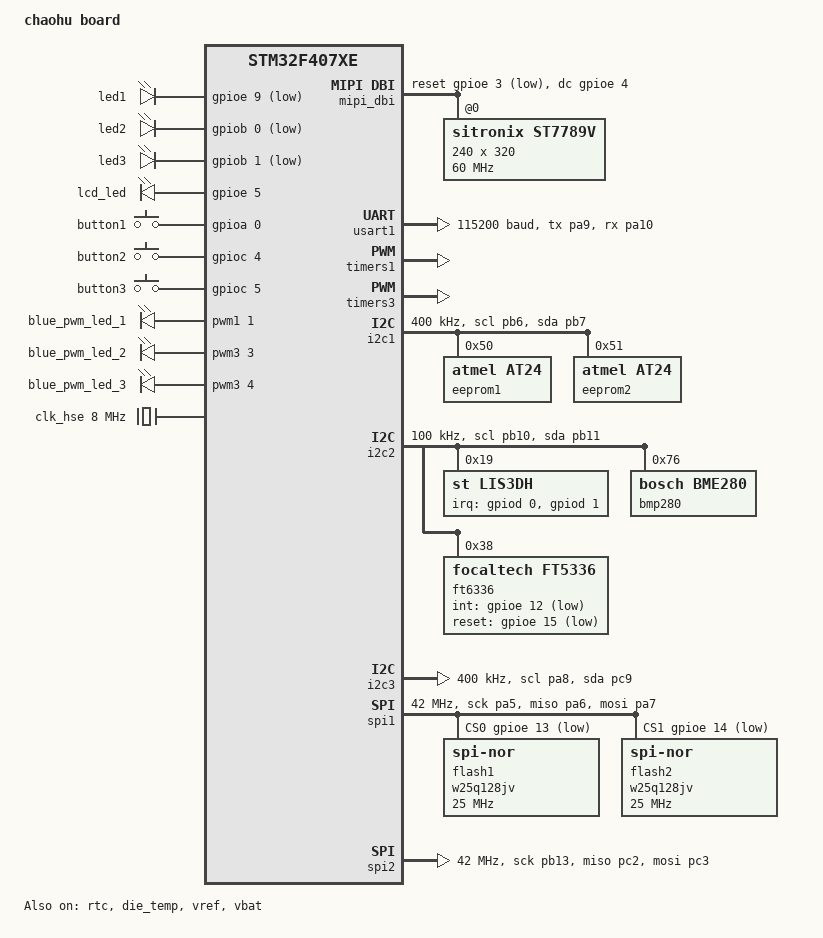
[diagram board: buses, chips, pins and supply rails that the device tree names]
/*
 * Copyright (c) 2017 Linaro Limited
 *
 * SPDX-License-Identifier: Apache-2.0
 */

/dts-v1/;
#include <st/f4/stm32f407Xe.dtsi>
#include <st/f4/stm32f407v(e-g)tx-pinctrl.dtsi>
#include <zephyr/dt-bindings/input/input-event-codes.h>
#include <zephyr/dt-bindings/i2c/i2c.h>
#include <zephyr/dt-bindings/led/led.h>

/ {
    model = "chaohu board";
    compatible = "st,chaohu";

    chosen {
        zephyr,sram = &sram0;
        zephyr,flash = &flash0;
        zephyr,ccm = &ccm0;
        zephyr,console = &usart1;
        zephyr,log-uart = &usart1;
        zephyr,shell-uart = &usart1;
        zephyr,display = &st7789v;
        zephyr,touch = &ft6336;
    };

    leds {
        compatible = "gpio-leds";
        blue_led_1: led_1 {
            gpios = <&gpioe 9 GPIO_ACTIVE_LOW>;
            label = "led1";
        };
        blue_led_2: led_2 {
            gpios = <&gpiob 0 GPIO_ACTIVE_LOW>;
            label = "led2";
        };
        blue_led_3: led_3 {
            gpios = <&gpiob 1 GPIO_ACTIVE_LOW>;
            label = "led3";
        };
        lcd_led: lcd_led {
            gpios = <&gpioe 5 GPIO_ACTIVE_HIGH>;
            label = "lcd_led";
        };
    };

    gpio_keys {
        compatible = "gpio-keys";
        user_button_1: button_1 {
            label = "button1";
            gpios = <&gpioa 0 (GPIO_PULL_DOWN | GPIO_ACTIVE_HIGH)>;
            zephyr,code = <INPUT_KEY_UP>;
        };
        user_button_2: button_2 {
            label = "button2";
            gpios = <&gpioc 4 (GPIO_PULL_DOWN | GPIO_ACTIVE_HIGH)>;
            zephyr,code = <INPUT_KEY_DOWN>;
        };
        user_button_3: button_3 {
            label = "button3";
            gpios = <&gpioc 5 (GPIO_PULL_DOWN | GPIO_ACTIVE_HIGH)>;
            zephyr,code = <INPUT_KEY_ENTER>;
        };
    };

    pwmleds {
        compatible = "pwm-leds";

        blue_pwm_led_1: pwm_led_1 {
            pwms = <&pwm1 1 PWM_MSEC(1) PWM_POLARITY_NORMAL>;
        };

        blue_pwm_led_2: pwm_led_2 {
            pwms = <&pwm3 3 PWM_MSEC(1) PWM_POLARITY_NORMAL>;
        };

        blue_pwm_led_3: pwm_led_3 {
            pwms = <&pwm3 4 PWM_MSEC(1) PWM_POLARITY_NORMAL>;
        };
    };

    mipi_dbi {
        compatible = "zephyr,mipi-dbi-spi";
        spi-dev = <&spi2>;
        dc-gpios = <&gpioe 4 GPIO_ACTIVE_HIGH>;
        reset-gpios = <&gpioe 3 GPIO_ACTIVE_LOW>;
        write-only;
        #address-cells = <1>;
        #size-cells = <0>;

        st7789v: st7789v@0 {
                status = "okay";
                compatible = "sitronix,st7789v";
                mipi-max-frequency = <DT_FREQ_M(60)>;
                reg = <0>;
                width = <240>;
                height = <320>;
                x-offset = <0>;
                y-offset = <0>;
                vcom = <0x1b>;
                gctrl = <0x46>;
                vrhs = <0x0f>;
                vdvs = <0x20>;
                mdac = <0x00>;
                gamma = <0x01>;
                colmod = <0x55>;
                lcm = <0x2c>;
                porch-param = [0c 0c 00 33 33];
                cmd2en-param = [5a 69 02 01];
                pwctrl1-param = [a4 a1];
                pvgam-param = [f0 00 06 04 05 05 31 44 48 36 12 12 2b 34];
                nvgam-param = [f0 0b 0f 0f 0d 26 31 43 47 38 14 14 2c 32];
                ram-param = [00 F0];
                rgb-param = [40 02 14];
                mipi-mode = "MIPI_DBI_MODE_SPI_4WIRE";
        };
    };

    aliases {
        led0 = &blue_led_1;
        led1 = &blue_led_2;
        led2 = &blue_led_3;
        button0 = &user_button_1;
        button1 = &user_button_2;
        button2 = &user_button_3;
        pwmled0 = &blue_pwm_led_1;
        pwmled1 = &blue_pwm_led_2;
        pwmled2 = &blue_pwm_led_3;
        eeprom1 = &eeprom1;
        eeprom2 = &eeprom2;
        lcd-led = &lcd_led;
        die-temp0 = &die_temp;
        volt-sensor0 = &vref;
        volt-sensor1 = &vbat;
    };
};

&usart1 {
    pinctrl-0 = <&usart1_tx_pa9 &usart1_rx_pa10>;
    pinctrl-names = "default";
    current-speed = <115200>;
    status = "okay";
};

&clk_lsi {
    status = "okay";
};

// &clk_lse {
// 	status = "okay";
// };

&clk_hse {
    clock-frequency = <DT_FREQ_M(8)>;
    status = "okay";
};

&pll {
    div-m = <4>;
    mul-n = <168>;
    div-p = <2>;
    div-q = <7>;
    clocks = <&clk_hse>;
    status = "okay";
};

&rcc {
    clocks = <&pll>;
    clock-frequency = <DT_FREQ_M(168)>;
    ahb-prescaler = <1>;
    apb1-prescaler = <4>;
    apb2-prescaler = <2>;
};

&timers1 {
    status = "okay";
    st,prescaler = <167>;

    pwm1: pwm {
        status = "okay";
        pinctrl-0 = <&tim1_ch1_pe9>;
        pinctrl-names = "default";
    };
};

&timers3 {
    status = "okay";
    st,prescaler = <83>;

    pwm3: pwm {
        status = "okay";
        pinctrl-0 = <&tim3_ch3_pb0 &tim3_ch4_pb1>;
        pinctrl-names = "default";
    };
};

&i2c1 {
    status = "okay";
    clock-frequency = <I2C_BITRATE_FAST>;
    pinctrl-0 = <&i2c1_scl_pb6 &i2c1_sda_pb7>;
    pinctrl-names = "default";

    eeprom1: at24c512@50 {
        status = "okay";
        compatible = "atmel,at24";
        reg = <0x50>;
        size = <DT_SIZE_K(64)>;
        pagesize = <128>;
        address-width = <16>;
        timeout = <5>;
    };
    eeprom2: at24c512@51 {
        status = "okay";
        compatible = "atmel,at24";
        reg = <0x51>;
        size = <DT_SIZE_K(64)>;
        pagesize = <128>;
        address-width = <16>;
        timeout = <5>;
    };
};

&i2c2 {
    status = "okay";
    clock-frequency = <I2C_BITRATE_STANDARD>;
    pinctrl-0 = <&i2c2_scl_pb10 &i2c2_sda_pb11>;
    pinctrl-names = "default";

    lis3dh: lis3dh@19 {
        status = "okay";
        compatible = "st,lis3dh", "st,lis2dh";
        reg = <0x19>;
        anym-on-int1;
        irq-gpios = <&gpiod 0 GPIO_ACTIVE_HIGH>,
                    <&gpiod 1 GPIO_ACTIVE_HIGH>;
    };
    bmp280: bme280@76 {
        status = "okay";
        compatible = "bosch,bme280";
        reg = <0x76>;
    };
    ft6336: ft6336@38 {
        status = "okay";
        compatible = "focaltech,ft5336";
        reg = <0x38>;
        int-gpios = <&gpioe 12 GPIO_ACTIVE_LOW>;
        reset-gpios = <&gpioe 15 GPIO_ACTIVE_LOW>;
    };
};

&i2c3 {
    status = "okay";
    clock-frequency = <I2C_BITRATE_FAST>;
    pinctrl-0 = <&i2c3_scl_pa8 &i2c3_sda_pc9>;
    pinctrl-names = "default";

    oled: ssd1306@3c {
        status = "disabled";
        compatible = "solomon,ssd1306fb";
        reg = <0x3c>;
        width = <128>;
        height = <32>;
        segment-offset = <0>;
        page-offset = <0>;
        display-offset = <0>;
        multiplex-ratio = <31>;
        segment-remap;
        com-invdir;
        com-sequential;
        prechargep = <0x22>;
        inversion-on;
    };
};

&spi1 {
    status = "okay";
    clock-frequency = <DT_FREQ_M(42)>;
    pinctrl-0 = <&spi1_sck_pa5 &spi1_miso_pa6 &spi1_mosi_pa7>;
    pinctrl-names = "default";

    dmas = <&dma2 3 3 (STM32_DMA_MEMORY_TO_PERIPH | STM32_DMA_MEM_INC) STM32_DMA_FIFO_FULL>,
           <&dma2 0 3 (STM32_DMA_PERIPH_TO_MEMORY | STM32_DMA_MEM_INC) STM32_DMA_FIFO_FULL>;
    dma-names = "tx", "rx";

    cs-gpios = <&gpioe 13 GPIO_ACTIVE_LOW>,
               <&gpioe 14 GPIO_ACTIVE_LOW>;

    flash1: w25q128jv@0 {
        status = "okay";
        compatible = "jedec,spi-nor";
        reg = <0>;
        size = <DT_SIZE_M(16)>;
        spi-max-frequency = <DT_FREQ_M(25)>;
        jedec-id = [ef 40 18];
        has-dpd;
        t-enter-dpd = <3000>;
        t-exit-dpd = <3000>;
    };
    flash2: w25q128jv@1 {
        status = "okay";
        compatible = "jedec,spi-nor";
        reg = <1>;
        size = <DT_SIZE_M(16)>;
        spi-max-frequency = <DT_FREQ_M(25)>;
        jedec-id = [ef 40 18];
        has-dpd;
        t-enter-dpd = <3000>;
        t-exit-dpd = <3000>;
    };
};

&spi2 {
    status = "okay";
    clock-frequency = <DT_FREQ_M(42)>;
    pinctrl-0 = <&spi2_sck_pb13 &spi2_miso_pc2 &spi2_mosi_pc3>;
    pinctrl-names = "default";

    dmas = <&dma1 4 0 (STM32_DMA_MEMORY_TO_PERIPH | STM32_DMA_MEM_INC) STM32_DMA_FIFO_FULL>,
           <&dma1 3 0 (STM32_DMA_PERIPH_TO_MEMORY | STM32_DMA_MEM_INC) STM32_DMA_FIFO_FULL>;
    dma-names = "tx", "rx";

    cs-gpios = <&gpioe 2 GPIO_ACTIVE_LOW>;
};

&dma1 {
    status = "okay";
};

&dma2 {
    status = "okay";
};

&rtc {
    status = "okay";
    clocks = <&rcc STM32_CLOCK_BUS_APB1 0x10000000>,
            <&rcc STM32_SRC_LSE RTC_SEL(1)>;

    backup_regs {
        status = "okay";
    };
};

&die_temp {
    status = "okay";
};

&vref {
    status = "okay";
};

&vbat {
    status = "okay";
};
